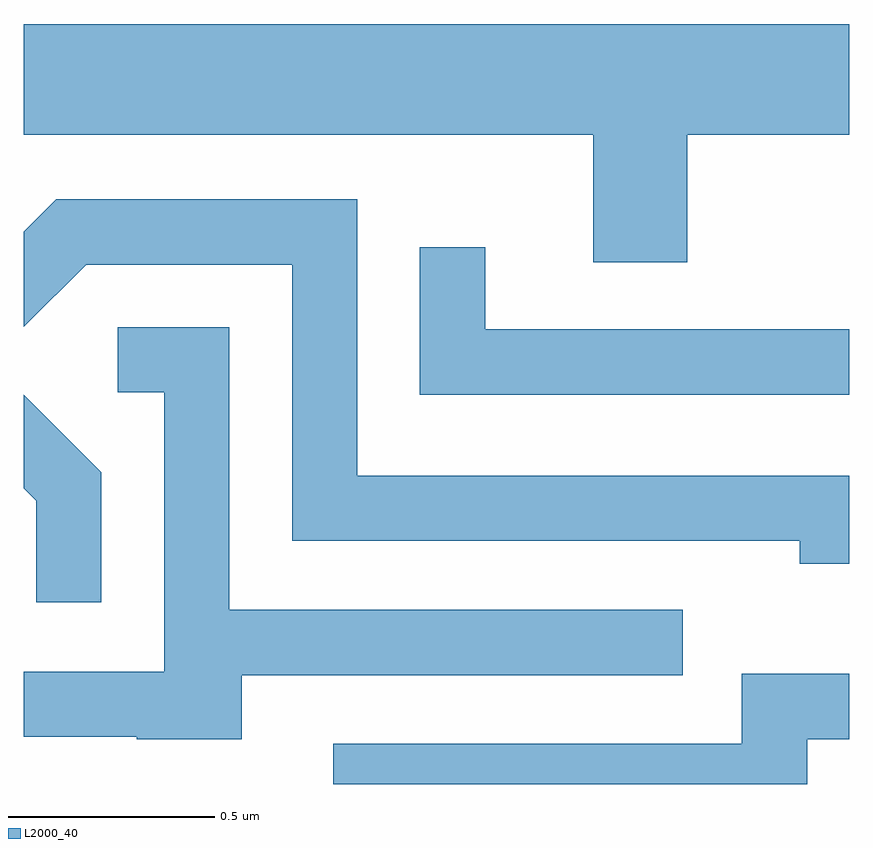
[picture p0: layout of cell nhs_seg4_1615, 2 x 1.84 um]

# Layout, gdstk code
import gdstk
lib = gdstk.Library(unit=1e-6, precision=1e-09)
def P(c, l, *ps):  # polygons
    for p in ps: c.add(gdstk.Polygon(p, *l))
L2000_40 = (2000, 40)

nhs_seg4_1615 = lib.new_cell('nhs_seg4_1615')
P(nhs_seg4_1615, L2000_40, [(198.219,1363.556),(198.611,1363.556),(198.611,1363.824),(196.611,1363.824),(196.611,1363.556),(197.991,1363.556),(197.991,1363.246),(198.219,1363.246)],
  [(198.611,1362.729),(197.419,1362.729),(197.419,1363.399),(196.689,1363.399),(196.611,1363.321),(196.611,1363.09),(196.762,1363.241),(197.261,1363.241),(197.261,1362.571),(198.491,1362.571),(198.491,1362.516),(198.611,1362.516)],
  [(198.611,1363.084),(197.729,1363.084),(197.729,1363.283),(197.571,1363.283),(197.571,1362.926),(198.611,1362.926)],
  [(197.139,1362.246),(198.208,1362.246),(198.208,1362.404),(197.109,1362.404),(197.109,1363.089),(196.838,1363.089),(196.838,1362.931),(196.951,1362.931),(196.951,1362.254),(196.611,1362.254),(196.611,1362.096),(196.885,1362.096),(196.885,1362.091),(197.139,1362.091)],
  [(196.799,1362.737),(196.611,1362.925),(196.611,1362.699),(196.641,1362.669),(196.641,1362.423),(196.799,1362.423)],
  [(198.509,1362.091),(198.611,1362.091),(198.611,1362.249),(198.351,1362.249),(198.351,1362.079),(197.361,1362.079),(197.361,1361.982),(198.509,1361.982)])

lib.write_gds('nhs_seg4_1615.gds')
